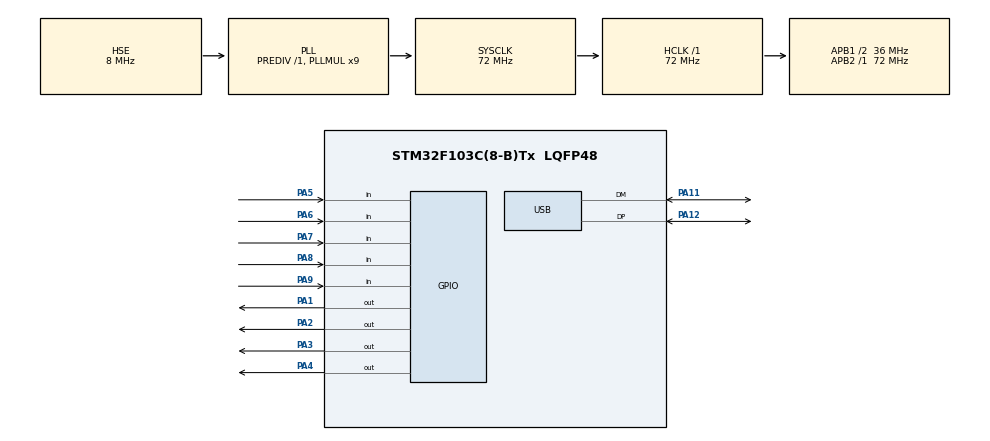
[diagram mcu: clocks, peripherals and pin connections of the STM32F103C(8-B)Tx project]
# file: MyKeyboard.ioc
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Mcu.Family=STM32F1
Mcu.Name=STM32F103C(8-B)Tx
Mcu.Package=LQFP48
NVIC.PriorityGroup=NVIC_PRIORITYGROUP_4
NVIC.USB_LP_CAN1_RX0_IRQn=true\:0\:0\:false\:false\:true\:false\:true\:true
PA1.Signal=GPIO_Output
PA11.Mode=Device
PA11.Signal=USB_DM
PA12.Mode=Device
PA12.Signal=USB_DP
PA13.Mode=Serial_Wire
PA13.Signal=SYS_JTMS-SWDIO
PA14.Mode=Serial_Wire
PA14.Signal=SYS_JTCK-SWCLK
PA2.Signal=GPIO_Output
PA3.Signal=GPIO_Output
PA4.Signal=GPIO_Output
PA5.GPIO_PuPd=GPIO_PULLDOWN
PA5.Signal=GPIO_Input
PA6.GPIO_PuPd=GPIO_PULLDOWN
PA6.Signal=GPIO_Input
PA7.GPIO_PuPd=GPIO_PULLDOWN
PA7.Signal=GPIO_Input
PA8.GPIO_PuPd=GPIO_PULLDOWN
PA8.Signal=GPIO_Input
PA9.GPIO_PuPd=GPIO_PULLDOWN
PA9.Signal=GPIO_Input
PD0-OSC_IN.Mode=HSE-External-Oscillator
PD0-OSC_IN.Signal=RCC_OSC_IN
PD1-OSC_OUT.Mode=HSE-External-Oscillator
PD1-OSC_OUT.Signal=RCC_OSC_OUT
ProjectManager.HeapSize=0x200
ProjectManager.StackSize=0x400
ProjectManager.TargetToolchain=MDK-ARM V5.32
RCC.AHBFreq_Value=72000000
RCC.APB1CLKDivider=RCC_HCLK_DIV2
RCC.APB1Freq_Value=36000000
RCC.APB1TimFreq_Value=72000000
RCC.APB2Freq_Value=72000000
RCC.APB2TimFreq_Value=72000000
RCC.HCLKFreq_Value=72000000
RCC.PLLMUL=RCC_PLL_MUL9
RCC.SYSCLKFreq_VALUE=72000000
RCC.SYSCLKSource=RCC_SYSCLKSOURCE_PLLCLK
RCC.USBFreq_Value=48000000
RCC.USBPrescaler=RCC_USBCLKSOURCE_PLL_DIV1_5
USB_DEVICE.CLASS_NAME_FS=HID
USB_DEVICE.PID_HID_FS=20315
USB_DEVICE.VID=1055
USB_DEVICE.VirtualMode=Hid
USB_DEVICE.VirtualModeFS=Hid_FS
VP_USB_DEVICE_VS_USB_DEVICE_HID_FS.Mode=HID_FS
board=custom

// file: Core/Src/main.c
/* USER CODE BEGIN Header */
/**
  ******************************************************************************
  * @file           : main.c
  * @brief          : Main program body
  ******************************************************************************
  * @attention
  *
  * Copyright (c) 2025 STMicroelectronics.
  * All rights reserved.
  *
  * This software is licensed under terms that can be found in the LICENSE file
  * in the root directory of this software component.
  * If no LICENSE file comes with this software, it is provided AS-IS.
  *
  ******************************************************************************
  */
/* USER CODE END Header */
#include "main.h"
#include "usb_device.h"
#include "gpio.h"

/* USER CODE BEGIN Includes */
#include "usbd_hid.h"
/* USER CODE END Includes */

/* USER CODE BEGIN PV */

uint8_t a1=0;
uint8_t a2=0;
uint8_t a3=0;
uint8_t a4=0;
uint8_t a5=0;
uint8_t a6=0;
uint8_t a7=0;
uint8_t a8=0;
uint8_t a9=0;
uint8_t a10=0;
uint8_t a11=0;
uint8_t a12=0;
uint8_t a13=0;
uint8_t a14=0;
uint8_t a15=0;
uint8_t a16=0;
uint8_t a17=0;
uint8_t a18=0;
uint8_t a19=0;
uint8_t a20=0;

uint8_t KeyBoard[8] = {0,0,0,0,0,0,0,0};
extern USBD_HandleTypeDef hUsbDeviceFS;
/* USER CODE END PV */

void SystemClock_Config(void);

int main(void)
{

  /* USER CODE BEGIN 1 */
const uint8_t space = 0x2c;
const uint8_t alt=0x04;
const uint8_t win =0x08;
const uint8_t shift =0x02;
const uint8_t ctrl =0x01;
const uint8_t tab= 0x2B;
const uint8_t enter = 0x28;
const uint8_t M= 0x10;
const uint8_t C= 6;
const uint8_t W= 0x1A;
const uint8_t Z =0x1D;
const uint8_t X = 0x1B;
const uint8_t D= 7;
const uint8_t S =0x16;
const uint8_t A =0x04;
const uint8_t R =0x15;
const uint8_t E =0x08;
const uint8_t Q =0x14;
const uint8_t num_4= 0x21;
const uint8_t B = 0x05 ;
const uint8_t Esc = 0x29;
uint8_t sendchar[8] = {0,0,0,0,0,0,0,0};
uint8_t location1;
uint8_t location3;
 int i = 0;
  /* USER CODE END 1 */

  /* MCU Configuration--------------------------------------------------------*/

  /* Reset of all peripherals, Initializes the Flash interface and the Systick. */
  HAL_Init();

  /* Configure the system clock */
  SystemClock_Config();

  /* Initialize all configured peripherals */
  MX_GPIO_Init();
  MX_USB_DEVICE_Init();

  /* Infinite loop */
  while (1)
  {

    /* USER CODE BEGIN 3 */
	  HAL_GPIO_WritePin(GPIOA,GPIO_PIN_1,1);
	  HAL_GPIO_WritePin(GPIOA,GPIO_PIN_2,0);
	  HAL_GPIO_WritePin(GPIOA,GPIO_PIN_3,0);
	  HAL_GPIO_WritePin(GPIOA,GPIO_PIN_4,0);
	  if(HAL_GPIO_ReadPin(GPIOA,GPIO_PIN_5)==1)
	  {
		  HAL_Delay(10);
		  if(HAL_GPIO_ReadPin(GPIOA,GPIO_PIN_5)==1)
	  {
		  a1=1;
	  }
	  }

	  if(HAL_GPIO_ReadPin(GPIOA,GPIO_PIN_6)==1)
	  {
		  HAL_Delay(10);
		  if(HAL_GPIO_ReadPin(GPIOA,GPIO_PIN_6)==1)
	  {
		  a2=1;
	  }
	  }
	  if(HAL_GPIO_ReadPin(GPIOA,GPIO_PIN_7)==1)
	  {
		  HAL_Delay(10);
		  if(HAL_GPIO_ReadPin(GPIOA,GPIO_PIN_7)==1)
	  {
		  a3=1;
	  }
	  }
	  if(HAL_GPIO_ReadPin(GPIOA,GPIO_PIN_8)==1)
	  {
		  HAL_Delay(10);
		  if(HAL_GPIO_ReadPin(GPIOA,GPIO_PIN_8)==1)
	  {
		  a4=1;
	  }
	  }
	  if(HAL_GPIO_ReadPin(GPIOA,GPIO_PIN_9)==1)
	  {
			HAL_Delay(10);
		  if(HAL_GPIO_ReadPin(GPIOA,GPIO_PIN_9)==1)
	  {
		  a5=1;
	  }
	  }
	  //if(a1==1){		USBD_HID_SendReport(&hUsbDeviceFS,(uint8_t*)&num_4,sizeof(KeyBoard));a1=0;}
	  //if(a2==1){		USBD_HID_SendReport(&hUsbDeviceFS,(uint8_t*)&Q,sizeof(KeyBoard));a2=0;}
	  //if(a3==1){		USBD_HID_SendReport(&hUsbDeviceFS,(uint8_t*)&W,sizeof(KeyBoard));a3=0;}
	  //if(a4==1){		USBD_HID_SendReport(&hUsbDeviceFS,(uint8_t*)&E,sizeof(KeyBoard));a4=0;}
	  //if(a5==1){		USBD_HID_SendReport(&hUsbDeviceFS,(uint8_t*)&R,sizeof(KeyBoard));a5=0;}

	HAL_GPIO_WritePin(GPIOA,GPIO_PIN_1,0);
	  HAL_GPIO_WritePin(GPIOA,GPIO_PIN_2,1);
	  HAL_GPIO_WritePin(GPIOA,GPIO_PIN_3,0);
	  HAL_GPIO_WritePin(GPIOA,GPIO_PIN_4,0);
	  if(HAL_GPIO_ReadPin(GPIOA,GPIO_PIN_5)==1)
	  {
		  HAL_Delay(10);
		  if(HAL_GPIO_ReadPin(GPIOA,GPIO_PIN_5)==1)
	  {
		  a19=1;
	  }
	  }

	  if(HAL_GPIO_ReadPin(GPIOA,GPIO_PIN_6)==1)
	  {
		  HAL_Delay(10);
		  if(HAL_GPIO_ReadPin(GPIOA,GPIO_PIN_6)==1)
	  {
		  a6=1;
	  }
	  }
	  if(HAL_GPIO_ReadPin(GPIOA,GPIO_PIN_7)==1)
	  {
		  HAL_Delay(10);
		  if(HAL_GPIO_ReadPin(GPIOA,GPIO_PIN_7)==1)
	  {
		  a7=1;
	  }
	  }
	  if(HAL_GPIO_ReadPin(GPIOA,GPIO_PIN_8)==1)
	  {
		  HAL_Delay(10);
		  if(HAL_GPIO_ReadPin(GPIOA,GPIO_PIN_8)==1)
	  {
		  a8=1;
	  }
	  }
	  if(HAL_GPIO_ReadPin(GPIOA,GPIO_PIN_9)==1)
	  {
			HAL_Delay(10);
		  if(HAL_GPIO_ReadPin(GPIOA,GPIO_PIN_9)==1)
	  {
		  a9=1;
	  }
	  }
	  //if(a1==1){		USBD_HID_SendReport(&hUsbDeviceFS,(uint8_t*)&tab,sizeof(KeyBoard));a1=0;}
	  //if(a2==1){		USBD_HID_SendReport(&hUsbDeviceFS,(uint8_t*)&A,sizeof(KeyBoard));a2=0;}
	  //if(a3==1){		USBD_HID_SendReport(&hUsbDeviceFS,(uint8_t*)&S,sizeof(KeyBoard));a3=0;}
	  //if(a4==1){		USBD_HID_SendReport(&hUsbDeviceFS,(uint8_t*)&D,sizeof(KeyBoard));a4=0;}
	  //if(a5==1){		USBD_HID_SendReport(&hUsbDeviceFS,(uint8_t*)&enter,sizeof(KeyBoard));a5=0;}

	  HAL_GPIO_WritePin(GPIOA,GPIO_PIN_1,0);
	  HAL_GPIO_WritePin(GPIOA,GPIO_PIN_2,0);
	  HAL_GPIO_WritePin(GPIOA,GPIO_PIN_3,1);
	  HAL_GPIO_WritePin(GPIOA,GPIO_PIN_4,0);
	  if(HAL_GPIO_ReadPin(GPIOA,GPIO_PIN_5)==1)
	  {
		  HAL_Delay(10);
		  if(HAL_GPIO_ReadPin(GPIOA,GPIO_PIN_5)==1)
	  {
		  a10=1;
	  }
	  }

	  if(HAL_GPIO_ReadPin(GPIOA,GPIO_PIN_6)==1)
	  {
		  HAL_Delay(10);
		  if(HAL_GPIO_ReadPin(GPIOA,GPIO_PIN_6)==1)
	  {
		  a11=1;
	  }
	  }
	  if(HAL_GPIO_ReadPin(GPIOA,GPIO_PIN_7)==1)
	  {
		  HAL_Delay(10);
		  if(HAL_GPIO_ReadPin(GPIOA,GPIO_PIN_7)==1)
	  {
		  a12=1;
	  }
	  }
	  if(HAL_GPIO_ReadPin(GPIOA,GPIO_PIN_8)==1)
	  {
		  HAL_Delay(10);
		  if(HAL_GPIO_ReadPin(GPIOA,GPIO_PIN_8)==1)
	  {
		  a13=1;
	  }
	  }
	  if(HAL_GPIO_ReadPin(GPIOA,GPIO_PIN_9)==1)
	  {
			HAL_Delay(10);
		  if(HAL_GPIO_ReadPin(GPIOA,GPIO_PIN_9)==1)
	  {
		  a14=1;
	  }
	  }
	  //if(a1==1){		USBD_HID_SendReport(&hUsbDeviceFS,(uint8_t*)&ctrl,sizeof(KeyBoard));a1=0;}
	  //if(a2==1){		USBD_HID_SendReport(&hUsbDeviceFS,(uint8_t*)&Z,sizeof(KeyBoard));a2=0;}
	  //if(a3==1){		USBD_HID_SendReport(&hUsbDeviceFS,(uint8_t*)&X,sizeof(KeyBoard));a3=0;}
	  //if(a4==1){		USBD_HID_SendReport(&hUsbDeviceFS,(uint8_t*)&C,sizeof(KeyBoard));a4=0;}
	  //if(a5==1){		USBD_HID_SendReport(&hUsbDeviceFS,(uint8_t*)&M,sizeof(KeyBoard));a5=0;}

	  HAL_GPIO_WritePin(GPIOA,GPIO_PIN_1,0);
	  HAL_GPIO_WritePin(GPIOA,GPIO_PIN_2,0);
	  HAL_GPIO_WritePin(GPIOA,GPIO_PIN_3,0);
	  HAL_GPIO_WritePin(GPIOA,GPIO_PIN_4,1);
	  if(HAL_GPIO_ReadPin(GPIOA,GPIO_PIN_5)==1)
	  {
		  HAL_Delay(10);
		  if(HAL_GPIO_ReadPin(GPIOA,GPIO_PIN_5)==1)
	  {
		  a15=1;
	  }
	  }

	  if(HAL_GPIO_ReadPin(GPIOA,GPIO_PIN_6)==1)
	  {
		  HAL_Delay(10);
		  if(HAL_GPIO_ReadPin(GPIOA,GPIO_PIN_6)==1)
	  {
		  a16=1;
	  }
	  }
	  if(HAL_GPIO_ReadPin(GPIOA,GPIO_PIN_7)==1)
	  {
		  HAL_Delay(10);
		  if(HAL_GPIO_ReadPin(GPIOA,GPIO_PIN_7)==1)
	  {
		  a17=1;
	  }
	  }
	  if(HAL_GPIO_ReadPin(GPIOA,GPIO_PIN_8)==1)
	  {
		  HAL_Delay(10);
		  if(HAL_GPIO_ReadPin(GPIOA,GPIO_PIN_8)==1)
	  {
		  a18=1;
	  }
	  }
	  //if(a1==1){		USBD_HID_SendReport(&hUsbDeviceFS,(uint8_t*)&shift,sizeof(KeyBoard));a1=0;}
	  //if(a2==1){		USBD_HID_SendReport(&hUsbDeviceFS,(uint8_t*)&win,sizeof(KeyBoard));a2=0;}
	  //if(a3==1){		USBD_HID_SendReport(&hUsbDeviceFS,(uint8_t*)&B,sizeof(KeyBoard));a3=0;}
	  //if(a4==1){		USBD_HID_SendReport(&hUsbDeviceFS,(uint8_t*)&space,sizeof(KeyBoard));a4=0;}

	  for(int j =0;j<=7;j++){sendchar[j]=0;}

	  {
		 i=0;
	  if(a15 == 1){	sendchar[0] = ctrl; a15 = 0;}
	  if(a10 == 1){	sendchar[0] = shift; a10 = 0;}
	  if(a16 == 1){	sendchar[2+i] = num_4; a16 = 0;i++;}
	  if(a1 == 1){	sendchar[2+i] = Esc; a1 = 0;i++;}
	  if(a2 == 1){	sendchar[2+i] = Q; a2 = 0;i++;}
	  if(a3 == 1){	sendchar[2+i] = W; a3 = 0;i++;}
	  if(a4 == 1){	sendchar[2+i] = E; a4 = 0;i++;}
	  if(a5 == 1){	sendchar[2+i] = R; a5 = 0;i++;}
	  if(a19 == 1){	sendchar[2+i] = tab; a19 = 0;i++;if(i>=6){i=5;}}
	  if(a6 == 1){	sendchar[2+i] = A; a6 = 0;i++;if(i>=6){i=5;}}
	  if(a7 == 1){	sendchar[2+i] = S; a7 = 0;i++;if(i>=6){i=5;}}
	  if(a8 == 1){	sendchar[2+i] = D; a8 = 0;i++;if(i>=6){i=5;}}
	  if(a9 == 1){	sendchar[2+i] = enter; a9 = 0;i++;if(i>=6){i=5;}}
      if(a11 == 1){	sendchar[2+i] = Z; a11 = 0;i++;if(i>=6){i=5;}}
	  if(a12 == 1){	sendchar[2+i] = X; a12 = 0;i++;if(i>=6){i=5;}}
	  if(a13 == 1){	sendchar[2+i] = C; a13 = 0;i++;if(i>=6){i=5;}}
	  if(a14 == 1){	sendchar[2+i] = M; a14 = 0;i++;if(i>=6){i=5;}}
	  if(a17 == 1){	sendchar[2+i] = B; a17 = 0;i++;if(i>=6){i=5;}}
	  if(a18 == 1){	sendchar[2+i] = space; a18 = 0;}
	}
	  USBD_HID_SendReport(&hUsbDeviceFS,(uint8_t*)&sendchar,sizeof(sendchar));
  }
}
void SystemClock_Config(void)
{
  RCC_OscInitTypeDef RCC_OscInitStruct = {0};
  RCC_ClkInitTypeDef RCC_ClkInitStruct = {0};
  RCC_PeriphCLKInitTypeDef PeriphClkInit = {0};

  /** Initializes the RCC Oscillators according to the specified parameters
  * in the RCC_OscInitTypeDef structure.
  */
  RCC_OscInitStruct.OscillatorType = RCC_OSCILLATORTYPE_HSE;
  RCC_OscInitStruct.HSEState = RCC_HSE_ON;
  RCC_OscInitStruct.HSEPredivValue = RCC_HSE_PREDIV_DIV1;
  RCC_OscInitStruct.HSIState = RCC_HSI_ON;
  RCC_OscInitStruct.PLL.PLLState = RCC_PLL_ON;
  RCC_OscInitStruct.PLL.PLLSource = RCC_PLLSOURCE_HSE;
  RCC_OscInitStruct.PLL.PLLMUL = RCC_PLL_MUL9;
  if (HAL_RCC_OscConfig(&RCC_OscInitStruct) != HAL_OK)
  {
    Error_Handler();
  }

  /** Initializes the CPU, AHB and APB buses clocks
  */
  RCC_ClkInitStruct.ClockType = RCC_CLOCKTYPE_HCLK|RCC_CLOCKTYPE_SYSCLK
                              |RCC_CLOCKTYPE_PCLK1|RCC_CLOCKTYPE_PCLK2;
  RCC_ClkInitStruct.SYSCLKSource = RCC_SYSCLKSOURCE_PLLCLK;
  RCC_ClkInitStruct.AHBCLKDivider = RCC_SYSCLK_DIV1;
  RCC_ClkInitStruct.APB1CLKDivider = RCC_HCLK_DIV2;
  RCC_ClkInitStruct.APB2CLKDivider = RCC_HCLK_DIV1;

  if (HAL_RCC_ClockConfig(&RCC_ClkInitStruct, FLASH_LATENCY_2) != HAL_OK)
  {
    Error_Handler();
  }
  PeriphClkInit.PeriphClockSelection = RCC_PERIPHCLK_USB;
  PeriphClkInit.UsbClockSelection = RCC_USBCLKSOURCE_PLL_DIV1_5;
  if (HAL_RCCEx_PeriphCLKConfig(&PeriphClkInit) != HAL_OK)
  {
    Error_Handler();
  }
}

/* USER CODE BEGIN 4 */
#define ROWS 4
#define COLS 5

GPIO_TypeDef* rowPorts[ROWS] = {GPIOA, GPIOA, GPIOA, GPIOA};
uint16_t rowPins[ROWS]     = {GPIO_PIN_1, GPIO_PIN_2, GPIO_PIN_3, GPIO_PIN_4};

GPIO_TypeDef* colPorts[COLS] = {GPIOA, GPIOA, GPIOA, GPIOA, GPIOA};
uint16_t colPins[COLS]       = {GPIO_PIN_5, GPIO_PIN_6, GPIO_PIN_7, GPIO_PIN_8, GPIO_PIN_9};

// HID ��ֵӳ�䣨����ԭ���Ĳ��֣�

/* USER CODE END 4 */

void Error_Handler(void)
{
  __disable_irq();
  while (1)
  {
  }
}
